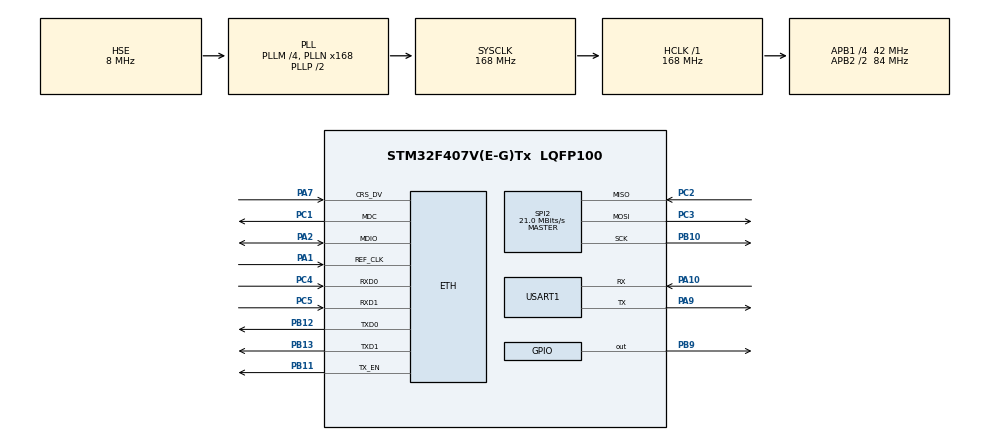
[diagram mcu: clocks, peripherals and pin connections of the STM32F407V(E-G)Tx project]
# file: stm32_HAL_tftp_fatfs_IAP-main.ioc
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ETH.MediaInterface=HAL_ETH_RMII_MODE
ETH.PHY_Name_RMII=DP83848_PHY_ADDRESS
FATFS._MAX_SS=4096
LWIP.BSP.number=1
LWIP.GATEWAY_ADDRESS=192.168.012.001
LWIP.IP_ADDRESS=192.168.012.008
LWIP.LWIP_DHCP=0
LWIP.NETMASK_ADDRESS=255.255.255.000
LWIP.Version=v2.1.2_Cube
LWIP0.BSP.STBoard=false
LWIP0.BSP.api=BSP_COMPONENT_DRIVER
LWIP0.BSP.component=DP83848
LWIP0.BSP.instance=DP83848
LWIP0.BSP.name=Driver_PHY
LWIP0.BSP.semaphore=S_DP83848
LWIP0.BSP.solution=DP83848
Mcu.Family=STM32F4
Mcu.Name=STM32F407V(E-G)Tx
Mcu.Package=LQFP100
NVIC.PriorityGroup=NVIC_PRIORITYGROUP_4
PA1.Mode=RMII
PA1.Signal=ETH_REF_CLK
PA10.Mode=Asynchronous
PA10.Signal=USART1_RX
PA13.Mode=Serial_Wire
PA13.Signal=SYS_JTMS-SWDIO
PA14.Mode=Serial_Wire
PA14.Signal=SYS_JTCK-SWCLK
PA2.Mode=RMII
PA2.Signal=ETH_MDIO
PA7.Mode=RMII
PA7.Signal=ETH_CRS_DV
PA9.Mode=Asynchronous
PA9.Signal=USART1_TX
PB10.Mode=Full_Duplex_Master
PB10.Signal=SPI2_SCK
PB11.Mode=RMII
PB11.Signal=ETH_TX_EN
PB12.Mode=RMII
PB12.Signal=ETH_TXD0
PB13.Mode=RMII
PB13.Signal=ETH_TXD1
PB9.Signal=GPIO_Output
PC1.Mode=RMII
PC1.Signal=ETH_MDC
PC2.Mode=Full_Duplex_Master
PC2.Signal=SPI2_MISO
PC3.Mode=Full_Duplex_Master
PC3.Signal=SPI2_MOSI
PC4.Mode=RMII
PC4.Signal=ETH_RXD0
PC5.Mode=RMII
PC5.Signal=ETH_RXD1
PH0-OSC_IN.Mode=HSE-External-Oscillator
PH0-OSC_IN.Signal=RCC_OSC_IN
PH1-OSC_OUT.Mode=HSE-External-Oscillator
PH1-OSC_OUT.Signal=RCC_OSC_OUT
ProjectManager.HeapSize=0x800
ProjectManager.StackSize=0x2000
ProjectManager.TargetToolchain=MDK-ARM V5.32
RCC.48MHZClocksFreq_Value=84000000
RCC.AHBFreq_Value=168000000
RCC.APB1CLKDivider=RCC_HCLK_DIV4
RCC.APB1Freq_Value=42000000
RCC.APB1TimFreq_Value=84000000
RCC.APB2CLKDivider=RCC_HCLK_DIV2
RCC.APB2Freq_Value=84000000
RCC.APB2TimFreq_Value=168000000
RCC.CortexFreq_Value=168000000
RCC.HCLKFreq_Value=168000000
RCC.HSE_VALUE=8000000
RCC.HSI_VALUE=16000000
RCC.LSE_VALUE=32768
RCC.PLLM=4
RCC.PLLN=168
RCC.PLLSourceVirtual=RCC_PLLSOURCE_HSE
RCC.SYSCLKFreq_VALUE=168000000
RCC.SYSCLKSource=RCC_SYSCLKSOURCE_PLLCLK
RCC.VCOOutputFreq_Value=336000000
SPI2.CalculateBaudRate=21.0 MBits/s
SPI2.Direction=SPI_DIRECTION_2LINES
SPI2.Mode=SPI_MODE_MASTER
SPI2.VirtualType=VM_MASTER
USART1.VirtualMode=VM_ASYNC
VP_FATFS_VS_Generic.Mode=User_defined
VP_LWIP_VS_Enabled.Mode=Enabled
board=custom

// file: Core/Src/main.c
/* USER CODE BEGIN Header */
/**
  ******************************************************************************
  * @file           : main.c
  * @brief          : Main program body
  ******************************************************************************
  * @attention
  *
  * <h2><center>&copy; Copyright (c) 2022 STMicroelectronics.
  * All rights reserved.</center></h2>
  *
  * This software component is licensed by ST under Ultimate Liberty license
  * SLA0044, the "License"; You may not use this file except in compliance with
  * the License. You may obtain a copy of the License at:
  *                             www.st.com/SLA0044
  *
  ******************************************************************************
  */
/* USER CODE END Header */
#include "main.h"
#include "fatfs.h"
#include "lwip.h"
#include "spi.h"
#include "usart.h"
#include "gpio.h"

/* USER CODE BEGIN Includes */
#include "stdio.h"
#include "stdarg.h"
#include "string.h"
#include "sys.h"
#include "w25qxx.h"
#include "tcp_server.h"
#include "flash_if.h"
#include "tftp_server.h"
#include "lwip/pbuf.h"
/* USER CODE END Includes */

/* USER CODE BEGIN PD */

//#define debug
BYTE work[4096];
FATFS fs;
FIL file;
uint8_t res=0;
UINT Br,Bw;
char path[4]="0:";
char success[]="1234qqqq!\r\n";
char error[]="error!\r\n";
char mount[]="mount Ok! \r\n";
uint8_t command=0;
DIR dp;
FILINFO fno;

uint32_t read_buf[512];
static uint32_t LastPGAddress = APPLICATION_ADDRESS;
/* USER CODE END PD */

void SystemClock_Config(void);
/* USER CODE BEGIN PFP */

int fputc(int ch, FILE *f)
{
    while((USART1->SR & 0X40) == 0);

    USART1->DR = (u8) ch;
    return ch;
}

/* USER CODE END PFP */

int main(void)
{

  /* MCU Configuration--------------------------------------------------------*/

  /* Reset of all peripherals, Initializes the Flash interface and the Systick. */
  HAL_Init();

  /* Configure the system clock */
  SystemClock_Config();

  /* Initialize all configured peripherals */
  MX_GPIO_Init();
  MX_SPI2_Init();
  MX_USART1_UART_Init();
  MX_FATFS_Init();
  MX_LWIP_Init();
  /* USER CODE BEGIN 2 */

	#ifdef debug
	printf("START\r\n");
	read_W25Q128_ID();
	W25Q128_test();
	#endif
//	res=f_mkfs("0:",FM_ANY,4096,work,sizeof(work));//format
//	printf("format result : %d\r\n",res);
	res=f_mount(&fs,"0:",0);
	f_opendir(&dp,"0:");
	f_readdir (&dp, &fno);
	printf("%s\r\n",fno.fname);
	f_closedir(&dp);

	#ifdef debug
	if(res!=FR_OK){
		HAL_UART_Transmit(&huart1,(uint8_t *) &error,sizeof(error),100);
	}else{
		HAL_UART_Transmit(&huart1,(uint8_t *) &mount,sizeof(mount),100);
	}

	res = f_open(&file, "aaa.txt", FA_OPEN_ALWAYS|FA_WRITE);
	f_lseek(&file, f_size(&file));

	f_write(&file,success,strlen(success),&Bw);
	f_close(&file);
	char rbuf[20]="";
	res = f_open(&file, "aaa.txt", FA_OPEN_ALWAYS|FA_READ);

	f_read(&file,rbuf,19,&Br);
	printf("%s",rbuf);
	f_close(&file);
	udp_server_init();
	#endif

	tcp_server_init();
	tftp_init();
//	HAL_TIM_Base_Start_IT(&htim1);
//	HAL_TIM_Base_Start_IT(&htim3);
  /* USER CODE END 2 */

  /* Infinite loop */
  /* USER CODE BEGIN WHILE */
  while (1)
  {
		MX_LWIP_Process();
		if(command==2)
		{
//			NVIC_SystemReset();
			printf("tim3\r\n");
			IAP_ExecuteApp (APPLICATION_ADDRESS);
		}
		else if(command==1)
		{
						HAL_FLASH_Unlock();
      __HAL_FLASH_CLEAR_FLAG(FLASH_FLAG_EOP|FLASH_FLAG_PGAERR|FLASH_FLAG_WRPERR);
			FLASH_EraseInitTypeDef pEraseInit;

      pEraseInit.TypeErase=FLASH_TYPEERASE_SECTORS;
      pEraseInit.Sector=FLASH_SECTOR_6;
      pEraseInit.NbSectors=4;
			uint32_t SectorError;
			HAL_FLASHEx_Erase(&pEraseInit,&SectorError);
      HAL_FLASH_Lock();
			f_open(&file,"test_IAP.bin",FA_READ);
			__IO uint32_t read_size = 0x00, tmp_read_size = 0x00;
				uint32_t read_flag = TRUE;

				/* Erase address init */
				LastPGAddress = APPLICATION_ADDRESS;

				/* While file still contain data */
				while (read_flag == TRUE) {

					/* Read maximum "BUFFERSIZE" Kbyte from the selected file  */
					f_read(&file, read_buf, 512,(UINT*) &read_size);

					/* Temp variable */
					tmp_read_size = read_size;
					/* The read data < "BUFFERSIZE" Kbyte */
					if (tmp_read_size < 512) {
						read_flag = FALSE;
					}
					/* Program flash memory */
					FLASH_If_Write(LastPGAddress, (uint32_t*) read_buf, read_size);
					/* Update last programmed address value */
					LastPGAddress = LastPGAddress + tmp_read_size;
				}
			f_close(&file);

		}
		command=0;

    /* USER CODE END WHILE */

  }
}

void SystemClock_Config(void)
{
  RCC_OscInitTypeDef RCC_OscInitStruct = {0};
  RCC_ClkInitTypeDef RCC_ClkInitStruct = {0};

  /** Configure the main internal regulator output voltage
  */
  __HAL_RCC_PWR_CLK_ENABLE();
  __HAL_PWR_VOLTAGESCALING_CONFIG(PWR_REGULATOR_VOLTAGE_SCALE1);

  /** Initializes the RCC Oscillators according to the specified parameters
  * in the RCC_OscInitTypeDef structure.
  */
  RCC_OscInitStruct.OscillatorType = RCC_OSCILLATORTYPE_HSE;
  RCC_OscInitStruct.HSEState = RCC_HSE_ON;
  RCC_OscInitStruct.PLL.PLLState = RCC_PLL_ON;
  RCC_OscInitStruct.PLL.PLLSource = RCC_PLLSOURCE_HSE;
  RCC_OscInitStruct.PLL.PLLM = 4;
  RCC_OscInitStruct.PLL.PLLN = 168;
  RCC_OscInitStruct.PLL.PLLP = RCC_PLLP_DIV2;
  RCC_OscInitStruct.PLL.PLLQ = 4;
  if (HAL_RCC_OscConfig(&RCC_OscInitStruct) != HAL_OK)
  {
    Error_Handler();
  }

  /** Initializes the CPU, AHB and APB buses clocks
  */
  RCC_ClkInitStruct.ClockType = RCC_CLOCKTYPE_HCLK|RCC_CLOCKTYPE_SYSCLK
                              |RCC_CLOCKTYPE_PCLK1|RCC_CLOCKTYPE_PCLK2;
  RCC_ClkInitStruct.SYSCLKSource = RCC_SYSCLKSOURCE_PLLCLK;
  RCC_ClkInitStruct.AHBCLKDivider = RCC_SYSCLK_DIV1;
  RCC_ClkInitStruct.APB1CLKDivider = RCC_HCLK_DIV4;
  RCC_ClkInitStruct.APB2CLKDivider = RCC_HCLK_DIV2;

  if (HAL_RCC_ClockConfig(&RCC_ClkInitStruct, FLASH_LATENCY_5) != HAL_OK)
  {
    Error_Handler();
  }
}

void Error_Handler(void)
{
}
